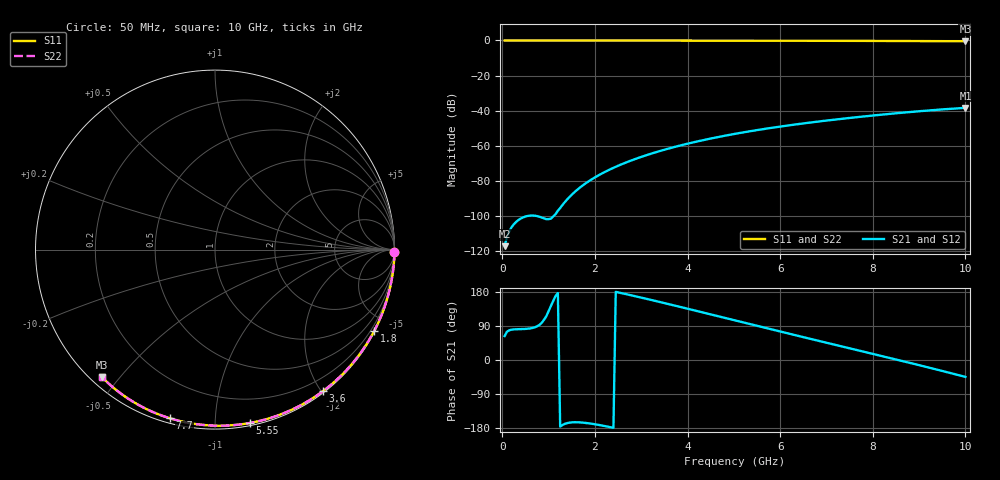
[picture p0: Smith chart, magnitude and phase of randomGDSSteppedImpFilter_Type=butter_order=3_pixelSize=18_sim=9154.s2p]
! freq	dB(S11)	phase(S11)	dB(S12)	phase(S12)
!  dB(S21)	phase(S21)	dB(S22)	phase(S22)
!S-par simulation data
#  GHz  S  DB  R 50
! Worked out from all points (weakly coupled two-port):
!   200 points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, 50 MHz to 10 GHz, reference 50 ohm
!   highest |S21| = -38.43 dB at 10 GHz (marker M1); lowest = -117.3 dB at 50 MHz (marker M2)
!   lowest |S11| = -0.5 dB at 10 GHz (marker M3), VSWR 38.56, Z = 1.56 - j22.6 ohm
!   |S11| at or under -10 dB: nowhere
!   |S22| runs from -0.5 to 0.0 dB; largest |S21 - S12| = 0
!   S11 on the Smith chart (normalised r, x): 50 MHz: open; 1.8 GHz: 0.04, -4.18; 3.6 GHz: 0.02, -2.02; 5.55 GHz: 0.02, -1.22; 7.7 GHz: 0.02, -0.77; 10 GHz: 0.03, -0.45
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0.05  -0.00 -0.8  -117.29 63.1  -117.29 63.1  -0.00 -0.8
0.9  -0.02 -13.6  -101.47 106.0  -101.47 106.0  -0.02 -13.6
1.75  -0.03 -26.2  -82.40 -165.4  -82.40 -165.4  -0.03 -26.2
1.8  -0.03 -26.9  -81.45 -166.0  -81.45 -166.0  -0.03 -27.0
1.85  -0.04 -27.7  -80.56 -166.8  -80.56 -166.8  -0.04 -27.7
1.9  -0.04 -28.4  -79.69 -167.6  -79.69 -167.6  -0.04 -28.4
2.05  -0.04 -30.6  -77.31 -170.6  -77.31 -170.6  -0.04 -30.6
2.25  -0.04 -33.5  -74.50 -175.2  -74.50 -175.2  -0.04 -33.5
2.45  -0.05 -36.4  -72.02 179.8  -72.02 179.8  -0.05 -36.4
2.65  -0.05 -39.3  -69.80 174.4  -69.80 174.4  -0.05 -39.3
3  -0.06 -44.2  -66.39 164.7  -66.39 164.7  -0.06 -44.3
3.4  -0.07 -49.9  -63.06 153.1  -63.06 153.1  -0.07 -49.9
3.6  -0.07 -52.7  -61.56 147.3  -61.56 147.3  -0.07 -52.7
4.3  -0.09 -62.2  -57.05 126.4  -57.05 126.4  -0.09 -62.3
5.05  -0.11 -72.2  -53.12 103.8  -53.12 103.8  -0.11 -72.2
5.55  -0.13 -78.7  -50.89 88.7  -50.89 88.7  -0.13 -78.7
6.1  -0.15 -85.6  -48.72 72.2  -48.72 72.2  -0.15 -85.7
6.7  -0.18 -93.0  -46.63 54.4  -46.63 54.4  -0.18 -93.1
7.7  -0.24 -105.0  -43.61 25.0  -43.61 25.0  -0.24 -105.1
8.35  -0.29 -112.6  -41.90 5.8  -41.90 5.8  -0.29 -112.7
9.15  -0.36 -121.8  -40.03 -18.1  -40.03 -18.1  -0.36 -121.9
10  -0.45 -131.4  -38.43 -44.6  -38.43 -44.6  -0.45 -131.5
